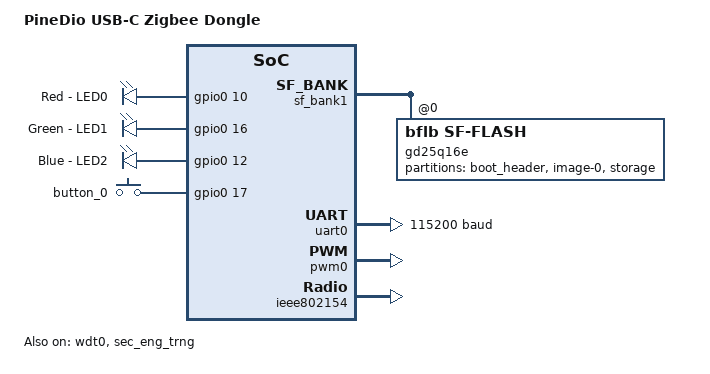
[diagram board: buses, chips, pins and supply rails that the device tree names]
/*
 * Copyright (c) 2026 MASSDRIVER EI (massdriver.space)
 * SPDX-License-Identifier: Apache-2.0
 */

/dts-v1/;

#include <bflb/bl706.dtsi>
#include "pinedio_zigbee_dongle-pinctrl.dtsi"

/ {
	model = "PineDio USB-C Zigbee Dongle";
	compatible = "bflb,bl706";

	chosen {
		zephyr,flash = &gd25q16e;
		zephyr,flash-controller = &sf_bank1;
		zephyr,code-partition = &slot0_partition;
		zephyr,itcm = &itcm;
		zephyr,sram = &sram0;
		zephyr,console = &uart0;
		zephyr,shell-uart = &uart0;
		zephyr,ot-uart = &uart0;
		zephyr,entropy = &sec_eng_trng;
		zephyr,ieee802154 = &ieee802154;
	};

	aliases {
		watchdog0 = &wdt0;
		led0 = &red_led;
		led1 = &green_led;
		led2 = &blue_led;
		pwm-led0 = &red_pwm_led;
		pwm-led1 = &green_pwm_led;
		pwm-led2 = &blue_pwm_led;
	};

	leds {
		compatible = "gpio-leds";

		red_led: led_0 {
			gpios = <&gpio0 10 GPIO_ACTIVE_HIGH>;
			label = "Red - LED0";
		};

		green_led: led_1 {
			gpios = <&gpio0 16 GPIO_ACTIVE_HIGH>;
			label = "Green - LED1";
		};

		blue_led: led_2 {
			gpios = <&gpio0 12 GPIO_ACTIVE_HIGH>;
			label = "Blue - LED2";
		};
	};

	pwmleds: pwmleds {
		compatible = "pwm-leds";
		status = "disabled";

		red_pwm_led: led_pwm_0 {
			pwms = <&pwm0 0 PWM_MSEC(1) PWM_POLARITY_NORMAL>;
			label = "Red - LED0 PWM";
		};

		green_pwm_led: led_pwm_1 {
			pwms = <&pwm0 1 PWM_MSEC(1) PWM_POLARITY_NORMAL>;
			label = "Green - LED1 PWM";
		};

		blue_pwm_led: led_pwm_2 {
			pwms = <&pwm0 2 PWM_MSEC(1) PWM_POLARITY_NORMAL>;
			label = "Blue - LED2 PWM";
		};
	};

	buttons {
		compatible = "gpio-keys";

		button_0: sw0 {
			gpios = <&gpio0 17 GPIO_ACTIVE_HIGH>;
			zephyr,code = <INPUT_KEY_0>;
		};
	};
};

&cpu0 {
	clock-frequency = <DT_FREQ_M(144)>;
};

&clk_flash {
	divider = <1>;
};

&sf_bank1 {
	reg = <0x23000000 DT_SIZE_M(2)>;
	ranges = <0x0 0x23000000 DT_SIZE_M(2)>;

	gd25q16e: flash@0 {
		compatible = "bflb,sf-flash", "soc-nv-flash";
		reg = <0 DT_SIZE_M(2)>;
		ranges;
		#address-cells = <1>;
		#size-cells = <1>;
		write-block-size = <4>;
		erase-block-size = <DT_SIZE_K(4)>;

		spi-bus-mode = <1>;
		sf-pad = <2>;
		jedec-id = [c8 40 15];

		partitions {
			ranges;
			#address-cells = <1>;
			#size-cells = <1>;

			boot_header_partition: partition@0 {
				compatible = "zephyr,mapped-partition";
				label = "boot_header";
				reg = <0x00000000 0x2000>;
				read-only;
			};

			slot0_partition: partition@2000 {
				compatible = "zephyr,mapped-partition";
				label = "image-0";
				reg = <0x00002000 (0x180000 - 0x2000)>;
				read-only;
			};

			storage_partition: partition@180000 {
				compatible = "zephyr,mapped-partition";
				label = "storage";
				reg = <0x00180000 0x80000>;
			};
		};
	};
};

&gpio0 {
	status = "okay";
};

&uart0 {
	status = "okay";
	current-speed = <115200>;

	pinctrl-0 = <&uart0_default>;
	pinctrl-names = "default";
};

&pwm0 {
	status = "okay";

	pinctrl-0 = <&pwm0_default>;
	pinctrl-names = "default";
};

&wdt0 {
	status = "okay";
};

&sec_eng_trng {
	status = "okay";
};

&ieee802154 {
	status = "okay";
};
